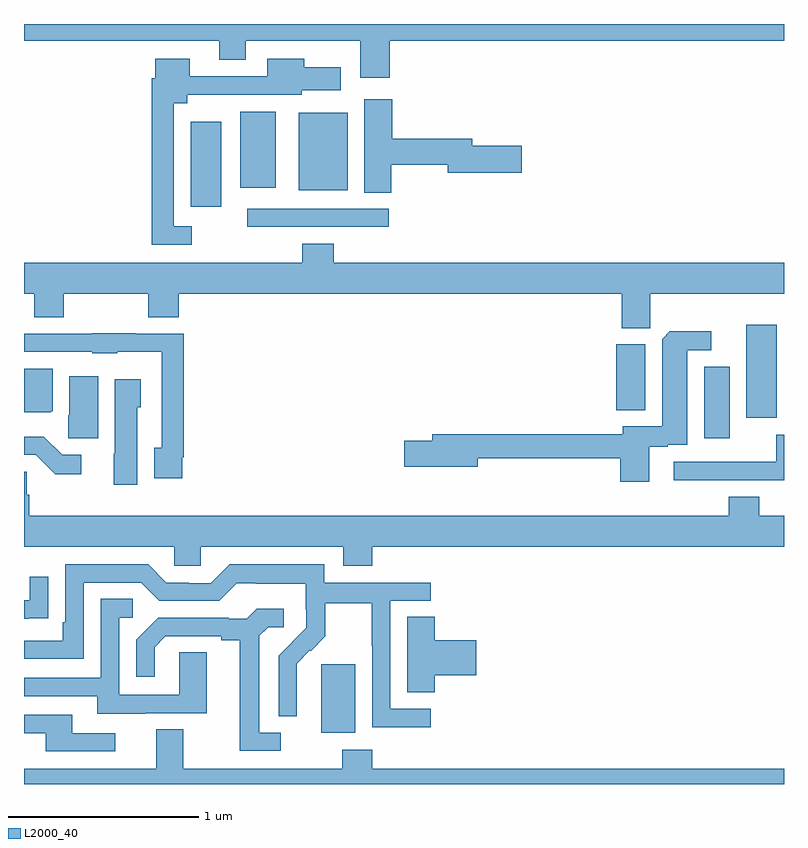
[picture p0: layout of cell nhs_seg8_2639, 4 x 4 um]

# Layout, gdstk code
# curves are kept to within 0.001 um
import gdstk
lib = gdstk.Library(unit=1e-6, precision=1e-09)
def R(c, l, rs):  # rectangles x0, y0, x1, y1
    for r in rs: c.add(gdstk.rectangle(r[:2], r[2:], *l))
def P(c, l, *ps):  # polygons
    for p in ps: c.add(gdstk.Polygon(p, *l))
L2000_40 = (2000, 40)

nhs_seg8_2639 = lib.new_cell('nhs_seg8_2639')
R(nhs_seg8_2639, L2000_40, [(278.564,1134.17,278.743,1134.531), (280.58,1135.719,280.714,1136.095), (280.802,1135.827,280.963,1136.317), (280.118,1135.867,280.27,1136.214), (278.175,1136.832,278.92,1136.928), (277.877,1136.937,278.038,1137.385), (278.447,1137.026,278.704,1137.433), (278.138,1137.038,278.326,1137.439)])
P(nhs_seg8_2639, L2000_40, [(277,1137.812),(278.027,1137.812),(278.027,1137.713),(278.167,1137.713),(278.167,1137.812),(278.771,1137.812),(278.771,1137.618),(278.924,1137.618),(278.924,1137.812),(281,1137.812),(281,1137.9),(277,1137.9)],
  [(277.882,1136.835),(277.788,1136.835),(277.788,1137.482),(277.858,1137.482),(277.858,1137.528),(278.463,1137.528),(278.463,1137.551),(278.668,1137.551),(278.668,1137.673),(278.475,1137.673),(278.475,1137.718),(278.279,1137.718),(278.279,1137.624),(277.873,1137.624),(277.873,1137.718),(277.691,1137.718),(277.691,1137.614),(277.672,1137.614),(277.672,1136.739),(277.882,1136.739)],
  [(278.934,1137.16),(279.23,1137.16),(279.23,1137.118),(279.619,1137.118),(279.619,1137.26),(279.358,1137.26),(279.358,1137.296),(278.939,1137.296),(278.939,1137.505),(278.792,1137.505),(278.792,1137.013),(278.934,1137.013)],
  [(280.295,1136.48),(281,1136.48),(281,1136.644),(278.63,1136.644),(278.63,1136.743),(278.465,1136.743),(278.465,1136.644),(277,1136.644),(277,1136.48),(277.054,1136.48),(277.054,1136.356),(277.209,1136.356),(277.209,1136.48),(277.654,1136.48),(277.654,1136.356),(277.814,1136.356),(277.814,1136.48),(280.145,1136.48),(280.145,1136.299),(280.295,1136.299)],
  [(280.291,1135.674),(280.388,1135.674),(280.388,1135.686),(280.492,1135.686),(280.492,1136.184),(280.618,1136.184),(280.618,1136.282),(280.399,1136.282),(280.358,1136.24),(280.358,1135.782),(280.151,1135.782),(280.151,1135.742),(279.149,1135.742),(279.149,1135.706),(279,1135.706),(279,1135.571),(279.388,1135.571),(279.388,1135.614),(280.139,1135.614),(280.139,1135.491),(280.291,1135.491)],
  [(277.834,1135.621),(277.841,1135.621),(277.841,1136.271),(277.591,1136.271),(277.591,1136.273),(277.359,1136.273),(277.359,1136.271),(277,1136.271),(277,1136.175),(277.359,1136.175),(277.359,1136.168),(277.491,1136.168),(277.491,1136.174),(277.725,1136.174),(277.725,1135.67),(277.685,1135.67),(277.685,1135.509),(277.834,1135.509)],
  [(277.15,1135.864),(277.15,1136.086),(277,1136.086),(277,1135.856),(277.142,1135.856)],
  [(277.39,1136.047),(277.238,1136.047),(277.238,1135.842),(277.234,1135.842),(277.234,1135.719),(277.39,1135.719)],
  [(277.597,1135.884),(277.615,1135.884),(277.615,1136.029),(277.478,1136.029),(277.478,1135.638),(277.472,1135.638),(277.472,1135.476),(277.597,1135.476)],
  [(281,1135.738),(280.96,1135.738),(280.96,1135.596),(280.419,1135.596),(280.419,1135.5),(281,1135.5)],
  [(277.3,1135.632),(277.2,1135.632),(277.105,1135.727),(277,1135.727),(277,1135.632),(277.062,1135.632),(277.165,1135.53),(277.3,1135.53)],
  [(278.834,1135.148),(281,1135.148),(281,1135.312),(280.869,1135.312),(280.869,1135.411),(280.709,1135.411),(280.709,1135.312),(277.028,1135.312),(277.028,1135.422),(277.014,1135.422),(277.014,1135.544),(277,1135.544),(277,1135.148),(277.791,1135.148),(277.791,1135.05),(277.929,1135.05),(277.929,1135.148),(278.681,1135.148),(278.681,1135.049),(278.834,1135.049)],
  [(279.142,1134.297),(278.928,1134.297),(278.928,1134.864),(279.142,1134.864),(279.142,1134.96),(278.58,1134.96),(278.58,1135.057),(278.083,1135.057),(277.983,1134.957),(277.868,1134.957),(277.868,1134.96),(277.749,1134.96),(277.653,1135.056),(277.218,1135.056),(277.218,1134.751),(277.205,1134.751),(277.205,1134.654),(277,1134.654),(277,1134.558),(277.314,1134.558),(277.314,1134.96),(277.617,1134.96),(277.713,1134.864),(278.028,1134.864),(278.121,1134.957),(278.221,1134.957),(278.221,1134.953),(278.484,1134.953),(278.484,1134.819),(278.486,1134.819),(278.486,1134.722),(278.34,1134.574),(278.34,1134.256),(278.436,1134.256),(278.435,1134.533),(278.505,1134.603),(278.508,1134.6),(278.585,1134.677),(278.585,1134.852),(278.83,1134.852),(278.83,1134.628),(278.832,1134.628),(278.832,1134.199),(279.142,1134.199)],
  [(277.025,1134.772),(277.127,1134.772),(277.127,1134.991),(277.031,1134.991),(277.031,1134.867),(277,1134.867),(277,1134.771),(277.025,1134.771)],
  [(277.639,1134.273),(277.963,1134.273),(277.963,1134.593),(277.818,1134.593),(277.818,1134.369),(277.5,1134.369),(277.5,1134.774),(277.573,1134.774),(277.573,1134.875),(277.404,1134.875),(277.404,1134.459),(277,1134.459),(277,1134.363),(277.385,1134.363),(277.385,1134.269),(277.639,1134.269)],
  [(278.35,1134.171),(278.239,1134.171),(278.239,1134.679),(278.286,1134.726),(278.368,1134.726),(278.368,1134.823),(278.224,1134.823),(278.172,1134.771),(278.078,1134.771),(278.078,1134.774),(277.706,1134.774),(277.59,1134.658),(277.59,1134.465),(277.687,1134.465),(277.687,1134.621),(277.744,1134.678),(278.039,1134.678),(278.039,1134.656),(278.135,1134.656),(278.135,1134.075),(278.35,1134.075)],
  [(279.161,1134.473),(279.379,1134.473),(279.379,1134.656),(279.161,1134.656),(279.161,1134.779),(279.017,1134.779),(279.017,1134.382),(279.161,1134.382)],
  [(277.48,1134.168),(277.255,1134.168),(277.255,1134.264),(277,1134.264),(277,1134.168),(277.115,1134.168),(277.115,1134.072),(277.48,1134.072)],
  [(281,1133.98),(278.834,1133.98),(278.834,1134.079),(278.674,1134.079),(278.674,1133.98),(277.837,1133.98),(277.837,1134.188),(277.697,1134.188),(277.697,1133.98),(277,1133.98),(277,1133.9),(281,1133.9)])

lib.write_gds('nhs_seg8_2639.gds')
